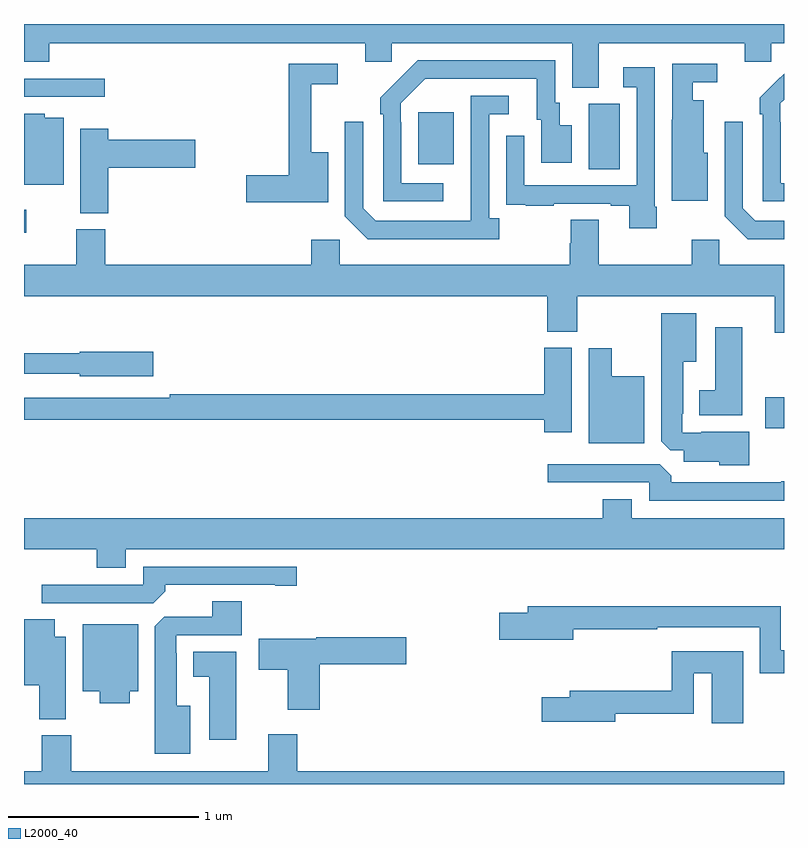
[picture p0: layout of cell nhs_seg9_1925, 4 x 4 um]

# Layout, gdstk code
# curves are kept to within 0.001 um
import gdstk
lib = gdstk.Library(unit=1e-6, precision=1e-09)
def R(c, l, rs):  # rectangles x0, y0, x1, y1
    for r in rs: c.add(gdstk.rectangle(r[:2], r[2:], *l))
def P(c, l, *ps):  # polygons
    for p in ps: c.add(gdstk.Polygon(p, *l))
L2000_40 = (2000, 40)

nhs_seg9_1925 = lib.new_cell('nhs_seg9_1925')
R(nhs_seg9_1925, L2000_40, [(222.9,1214.372,223,1214.535), (219,1215.401,219.013,1215.523), (221.972,1215.736,222.136,1216.08), (221.075,1215.761,221.263,1216.036), (219,1216.116,219.424,1216.212)])
P(nhs_seg9_1925, L2000_40, [(222.025,1216.4),(222.794,1216.4),(222.794,1216.302),(222.933,1216.302),(222.933,1216.4),(223,1216.4),(223,1216.5),(219,1216.5),(219,1216.301),(219.134,1216.301),(219.134,1216.4),(220.796,1216.4),(220.796,1216.302),(220.935,1216.302),(220.935,1216.4),(221.885,1216.4),(221.885,1216.165),(222.025,1216.165)],
  [(221.206,1215.663),(220.986,1215.663),(220.986,1215.983),(220.983,1215.983),(220.983,1216.083),(221.112,1216.212),(221.699,1216.212),(221.699,1215.996),(221.723,1215.996),(221.723,1215.771),(221.884,1215.771),(221.884,1215.967),(221.821,1215.967),(221.821,1216.086),(221.796,1216.086),(221.796,1216.308),(221.072,1216.308),(220.875,1216.113),(220.875,1216.025),(220.89,1216.025),(220.89,1215.567),(221.206,1215.567)],
  [(220.6,1215.826),(220.511,1215.826),(220.511,1216.182),(220.651,1216.182),(220.651,1216.29),(220.393,1216.29),(220.393,1215.704),(220.17,1215.704),(220.17,1215.562),(220.6,1215.562)],
  [(222.598,1215.822),(222.577,1215.822),(222.577,1216.099),(222.52,1216.099),(222.52,1216.194),(222.649,1216.194),(222.649,1216.29),(222.411,1216.29),(222.411,1215.995),(222.41,1215.995),(222.41,1215.569),(222.598,1215.569)],
  [(222.33,1215.538),(222.321,1215.538),(222.321,1216.273),(222.153,1216.273),(222.153,1216.167),(222.225,1216.167),(222.225,1215.651),(221.634,1215.651),(221.634,1215.913),(221.538,1215.913),(221.538,1215.658),(221.539,1215.658),(221.539,1215.549),(221.641,1215.549),(221.641,1215.543),(221.789,1215.543),(221.789,1215.555),(222.089,1215.555),(222.089,1215.543),(222.185,1215.543),(222.185,1215.426),(222.33,1215.426)],
  [(223,1215.663),(222.984,1215.663),(222.984,1215.983),(222.981,1215.983),(222.981,1216.083),(223,1216.102),(223,1216.238),(222.979,1216.217),(222.978,1216.218),(222.873,1216.113),(222.873,1216.025),(222.888,1216.025),(222.888,1215.567),(223,1215.567)],
  [(221.5,1215.478),(221.448,1215.478),(221.448,1216.026),(221.551,1216.026),(221.551,1216.122),(221.352,1216.122),(221.351,1215.465),(220.851,1215.465),(220.785,1215.531),(220.785,1215.985),(220.689,1215.985),(220.689,1215.489),(220.81,1215.368),(221.5,1215.368)],
  [(219.208,1216.006),(219.108,1216.006),(219.108,1216.027),(219,1216.027),(219,1215.653),(219.208,1215.653)],
  [(223,1215.465),(222.849,1215.465),(222.783,1215.531),(222.783,1215.985),(222.687,1215.985),(222.687,1215.489),(222.808,1215.368),(223,1215.368)],
  [(219.443,1215.743),(219.901,1215.743),(219.901,1215.89),(219.443,1215.89),(219.443,1215.949),(219.296,1215.949),(219.296,1215.505),(219.443,1215.505)],
  [(223,1215.232),(222.66,1215.232),(222.66,1215.364),(222.514,1215.364),(222.514,1215.232),(222.025,1215.232),(222.025,1215.47),(221.878,1215.47),(221.878,1215.345),(221.873,1215.345),(221.873,1215.232),(220.662,1215.232),(220.662,1215.364),(220.511,1215.364),(220.511,1215.232),(219.428,1215.232),(219.428,1215.42),(219.275,1215.42),(219.275,1215.232),(219,1215.232),(219,1215.068),(221.753,1215.068),(221.753,1214.881),(221.913,1214.881),(221.913,1215.068),(222.95,1215.068),(222.95,1214.874),(223,1214.874)],
  [(222.817,1214.353),(222.565,1214.353),(222.565,1214.349),(222.465,1214.349),(222.465,1214.449),(222.469,1214.449),(222.469,1214.723),(222.538,1214.723),(222.538,1214.977),(222.353,1214.977),(222.353,1214.305),(222.402,1214.256),(222.473,1214.256),(222.473,1214.195),(222.66,1214.195),(222.66,1214.177),(222.817,1214.177)],
  [(222.781,1214.905),(222.638,1214.905),(222.638,1214.572),(222.554,1214.572),(222.554,1214.441),(222.781,1214.441)],
  [(221.884,1214.796),(221.738,1214.796),(221.738,1214.552),(219.766,1214.552),(219.766,1214.532),(219,1214.532),(219,1214.416),(221.738,1214.416),(221.738,1214.352),(221.884,1214.352)],
  [(222.265,1214.647),(222.094,1214.647),(222.094,1214.794),(221.972,1214.794),(221.972,1214.294),(222.265,1214.294)],
  [(219.679,1214.775),(219.294,1214.775),(219.294,1214.767),(219,1214.767),(219,1214.658),(219.294,1214.658),(219.294,1214.645),(219.679,1214.645)],
  [(223,1214.093),(222.986,1214.093),(222.986,1214.088),(222.407,1214.088),(222.407,1214.122),(222.345,1214.184),(221.757,1214.184),(221.757,1214.088),(222.291,1214.088),(222.291,1213.992),(223,1213.992)],
  [(219.535,1213.736),(223,1213.736),(223,1213.9),(222.199,1213.9),(222.199,1213.999),(222.047,1213.999),(222.047,1213.9),(219,1213.9),(219,1213.736),(219.383,1213.736),(219.383,1213.637),(219.535,1213.637)],
  [(219.743,1213.514),(219.743,1213.548),(220.322,1213.548),(220.322,1213.543),(220.435,1213.543),(220.435,1213.644),(219.627,1213.644),(219.627,1213.548),(219.093,1213.548),(219.093,1213.452),(219.681,1213.452)],
  [(219.874,1212.913),(219.805,1212.913),(219.805,1213.187),(219.801,1213.187),(219.801,1213.284),(220.145,1213.284),(220.145,1213.463),(219.992,1213.463),(219.992,1213.38),(219.738,1213.38),(219.689,1213.331),(219.689,1212.659),(219.874,1212.659)],
  [(223,1213.203),(222.982,1213.203),(222.982,1213.435),(221.651,1213.435),(221.651,1213.401),(221.502,1213.401),(221.502,1213.259),(221.89,1213.259),(221.89,1213.314),(222.332,1213.314),(222.332,1213.326),(222.873,1213.326),(222.873,1213.084),(223,1213.084)],
  [(219.22,1213.276),(219.163,1213.276),(219.163,1213.367),(219,1213.367),(219,1213.019),(219.079,1213.019),(219.079,1212.841),(219.22,1212.841)],
  [(219.556,1212.989),(219.601,1212.989),(219.601,1213.342),(219.308,1213.342),(219.308,1212.989),(219.398,1212.989),(219.398,1212.926),(219.556,1212.926)],
  [(220.556,1213.13),(221.011,1213.13),(221.011,1213.272),(220.539,1213.272),(220.539,1213.264),(220.236,1213.264),(220.236,1213.102),(220.388,1213.102),(220.388,1212.891),(220.556,1212.891)],
  [(222.786,1213.2),(222.409,1213.2),(222.409,1212.991),(221.873,1212.991),(221.873,1212.957),(221.724,1212.957),(221.724,1212.827),(222.112,1212.827),(222.112,1212.87),(222.525,1212.87),(222.525,1213.084),(222.62,1213.084),(222.62,1212.819),(222.786,1212.819)],
  [(220.117,1213.195),(219.89,1213.195),(219.89,1213.064),(219.974,1213.064),(219.974,1212.732),(220.117,1212.732)],
  [(223,1212.568),(220.439,1212.568),(220.439,1212.763),(220.286,1212.763),(220.286,1212.568),(219.249,1212.568),(219.249,1212.756),(219.094,1212.756),(219.094,1212.568),(219,1212.568),(219,1212.5),(223,1212.5)])

lib.write_gds('nhs_seg9_1925.gds')
